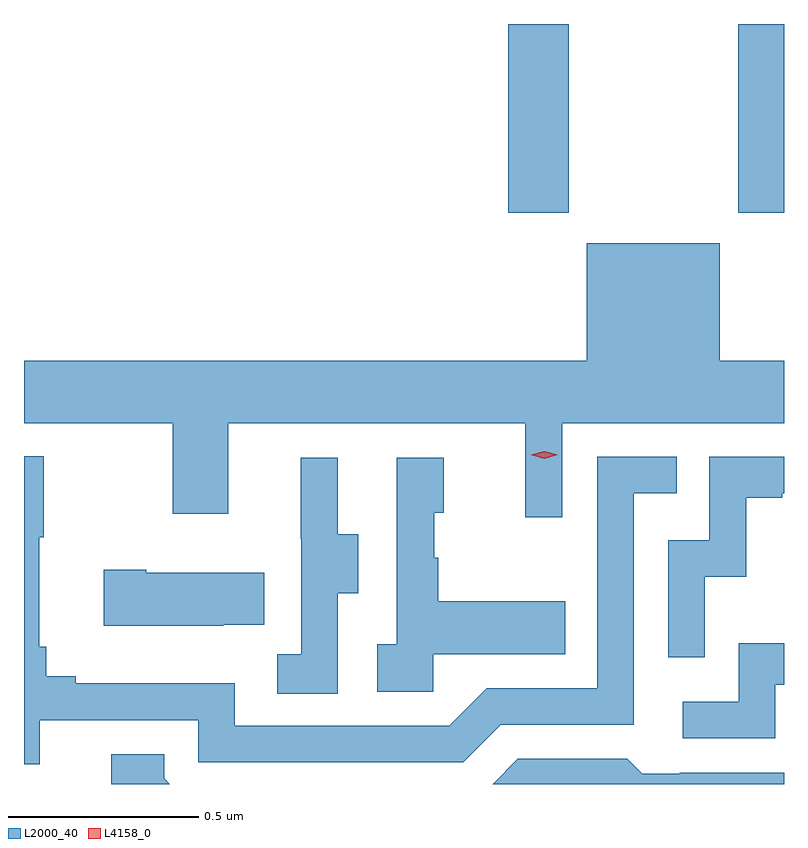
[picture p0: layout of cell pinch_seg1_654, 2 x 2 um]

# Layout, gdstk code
import gdstk
lib = gdstk.Library(unit=1e-6, precision=1e-09)
def R(c, l, rs):  # rectangles x0, y0, x1, y1
    for r in rs: c.add(gdstk.rectangle(r[:2], r[2:], *l))
def P(c, l, *ps):  # polygons
    for p in ps: c.add(gdstk.Polygon(p, *l))
L2000_40 = (2000, 40)
L4158_0 = (4158, 0)

pinch_seg1_654 = lib.new_cell('pinch_seg1_654')
R(pinch_seg1_654, L2000_40, [(1080.461,513.657,1080.621,514.154), (1081.066,513.657,1081.187,514.154)])
P(pinch_seg1_654, L2000_40, [(1080.603,513.104),(1081.187,513.104),(1081.187,513.268),(1081.018,513.268),(1081.018,513.577),(1080.668,513.577),(1080.668,513.268),(1079.187,513.268),(1079.187,513.104),(1079.578,513.104),(1079.578,512.865),(1079.725,512.865),(1079.725,513.104),(1080.506,513.104),(1080.506,512.856),(1080.603,512.856)],
  [(1079.228,512.322),(1079.646,512.322),(1079.646,512.211),(1080.343,512.211),(1080.442,512.31),(1080.792,512.31),(1080.792,512.919),(1080.905,512.919),(1080.905,513.015),(1080.696,513.015),(1080.696,512.406),(1080.405,512.406),(1080.306,512.307),(1079.742,512.307),(1079.742,512.419),(1079.323,512.419),(1079.323,512.438),(1079.246,512.438),(1079.246,512.515),(1079.227,512.515),(1079.227,512.803),(1079.239,512.803),(1079.239,513.016),(1079.187,513.016),(1079.187,512.206),(1079.228,512.206)],
  [(1080.978,512.699),(1081.088,512.699),(1081.088,512.907),(1081.183,512.907),(1081.183,512.919),(1081.187,512.919),(1081.187,513.015),(1080.99,513.015),(1080.99,512.796),(1080.882,512.796),(1080.882,512.487),(1080.978,512.487)],
  [(1080.264,512.495),(1080.611,512.495),(1080.611,512.635),(1080.277,512.635),(1080.277,512.75),(1080.267,512.75),(1080.267,512.868),(1080.292,512.868),(1080.292,513.013),(1080.168,513.013),(1080.168,512.522),(1080.117,512.522),(1080.117,512.397),(1080.264,512.397)],
  [(1080.012,512.656),(1080.067,512.656),(1080.067,512.811),(1080.013,512.811),(1080.013,513.013),(1079.915,513.013),(1079.915,512.799),(1079.916,512.799),(1079.916,512.495),(1079.853,512.495),(1079.853,512.392),(1080.012,512.392)],
  [(1079.711,512.573),(1079.819,512.573),(1079.819,512.71),(1079.509,512.71),(1079.509,512.718),(1079.397,512.718),(1079.397,512.57),(1079.711,512.57)],
  [(1081.164,512.415),(1081.187,512.415),(1081.187,512.524),(1081.068,512.524),(1081.068,512.37),(1080.921,512.37),(1080.921,512.274),(1081.164,512.274)],
  [(1079.556,512.169),(1079.556,512.232),(1079.417,512.232),(1079.417,512.154),(1079.571,512.154)],
  [(1081.187,512.184),(1080.913,512.184),(1080.913,512.181),(1080.814,512.181),(1080.775,512.22),(1080.486,512.22),(1080.42,512.154),(1081.187,512.154)])
P(pinch_seg1_654, L4158_0, [(1080.556,513.01),(1080.521,513.02),(1080.52,513.02),(1080.521,513.02),(1080.556,513.03),(1080.592,513.021),(1080.592,513.021),(1080.592,513.02)])

lib.write_gds('pinch_seg1_654.gds')
